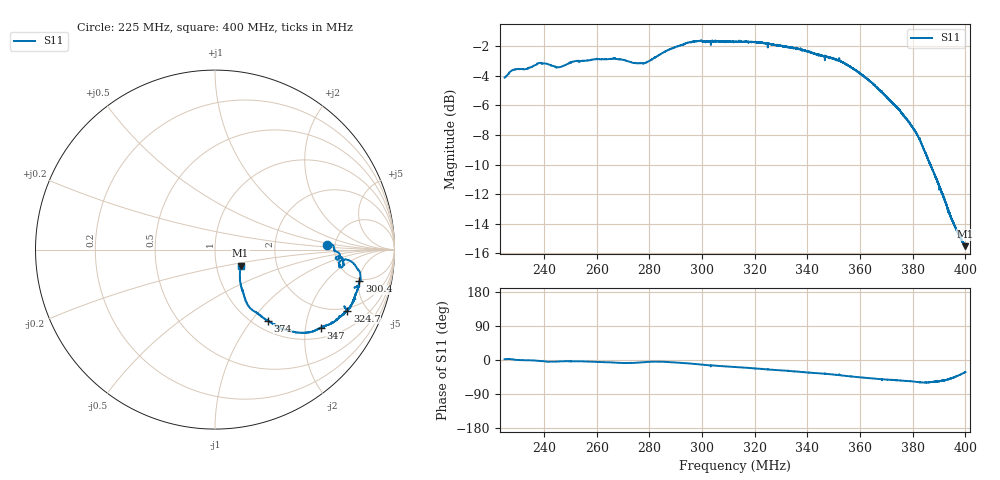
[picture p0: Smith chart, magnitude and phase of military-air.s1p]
! Calibrated averaged scanner-service zoom
# Hz S RI R 50
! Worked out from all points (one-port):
!   10001 points, 225 MHz to 400 MHz, reference 50 ohm
!   lowest |S11| = -15.5 dB at 399.9 MHz (marker M1), VSWR 1.40, Z = 65.4 - j11.9 ohm
!   |S11| at or under -10 dB: 386.6284 MHz to 386.6361 MHz (7.701 kHz wide, 0.00199 % of centre); 386.6785 MHz to 386.7104 MHz (31.88 kHz wide, 0.00824 % of centre); 386.7 MHz to end of sweep
!   S11 on the Smith chart (normalised r, x): 225 MHz: 4.26, +0.32; 300.4 MHz: 4.64, -5.08; 324.7 MHz: 1.85, -3.68; 347 MHz: 1.30, -2.43; 374 MHz: 1.15, -1.21; 400 MHz: 1.31, -0.24
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2.25e8  0.6215 0.0233
2.282725e8  0.661 0.0186
2.328925e8  0.6645 -0.00716
2.38125e8  0.6962 -0.0297
2.419225e8  0.686 -0.0561
2.46875e8  0.6779 -0.0401
2.52125e8  0.7064 -0.047
2.54505e8  0.7082 -0.0437
2.6875e8  0.7103 -0.096
2.732125e8  0.6937 -0.0968
2.782175e8  0.693 -0.0679
2.835725e8  0.7389 -0.0571
2.90625e8  0.7868 -0.097
2.95525e8  0.8092 -0.1342
3.00355e8  0.8043 -0.1765
3.125e8  0.7793 -0.2611
3.246625e8  0.7369 -0.3402
3.34375e8  0.6819 -0.3873
3.4701e8  0.5886 -0.4346
3.5625e8  0.4944 -0.4632
3.644225e8  0.3958 -0.4486
3.740475e8  0.2933 -0.3956
3.78125e8  0.2531 -0.3666
3.81905e8  0.2075 -0.3363
3.8642e8  0.1677 -0.2717
3.95065e8  0.1391 -0.1507
3.999125e8  0.1424 -0.0887
4e8  0.1428 -0.0884
